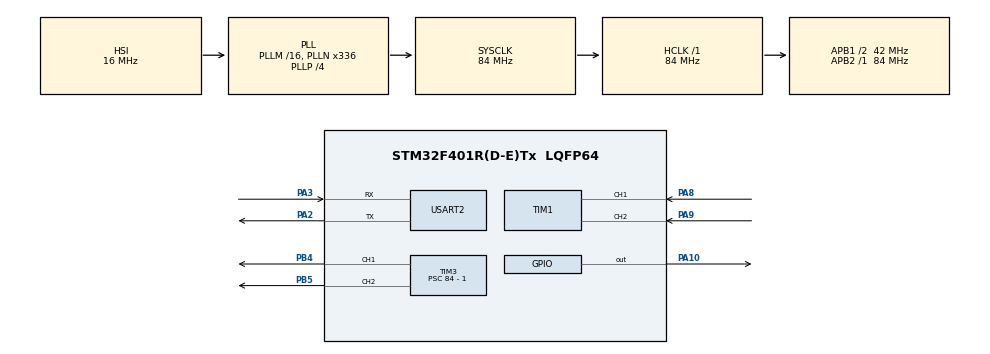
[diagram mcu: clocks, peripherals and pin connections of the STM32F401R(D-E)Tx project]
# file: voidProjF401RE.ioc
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Mcu.Family=STM32F4
Mcu.Name=STM32F401R(D-E)Tx
Mcu.Package=LQFP64
NVIC.PriorityGroup=NVIC_PRIORITYGROUP_4
NVIC.TIM4_IRQn=true\:0\:0\:false\:false\:true\:true\:true
PA10.Signal=GPIO_Output
PA2.Mode=Asynchronous
PA2.Signal=USART2_TX
PA3.Mode=Asynchronous
PA3.Signal=USART2_RX
PA8.Signal=S_TIM1_CH1
PA9.Signal=S_TIM1_CH2
PB4.Signal=S_TIM3_CH1
PB5.Signal=S_TIM3_CH2
ProjectManager.HeapSize=0x200
ProjectManager.StackSize=0x400
ProjectManager.TargetToolchain=STM32CubeIDE
RCC.48MHZClocksFreq_Value=84000000
RCC.AHBFreq_Value=84000000
RCC.APB1CLKDivider=RCC_HCLK_DIV2
RCC.APB1Freq_Value=42000000
RCC.APB1TimFreq_Value=84000000
RCC.APB2Freq_Value=84000000
RCC.APB2TimFreq_Value=84000000
RCC.CortexFreq_Value=84000000
RCC.HCLKFreq_Value=84000000
RCC.HSE_VALUE=25000000
RCC.HSI_VALUE=16000000
RCC.LSE_VALUE=32768
RCC.PLLN=336
RCC.PLLP=RCC_PLLP_DIV4
RCC.SYSCLKFreq_VALUE=84000000
RCC.SYSCLKSource=RCC_SYSCLKSOURCE_PLLCLK
RCC.VCOOutputFreq_Value=336000000
SH.S_TIM1_CH1.0=TIM1_CH1,Encoder_Interface
SH.S_TIM1_CH2.0=TIM1_CH2,Encoder_Interface
SH.S_TIM3_CH1.0=TIM3_CH1,PWM Generation1 CH1
SH.S_TIM3_CH2.0=TIM3_CH2,PWM Generation2 CH2
TIM1.EncoderMode=TIM_ENCODERMODE_TI12
TIM3.AutoReloadPreload=TIM_AUTORELOAD_PRELOAD_ENABLE
TIM3.Channel-PWM\ Generation1\ CH1=TIM_CHANNEL_1
TIM3.Channel-PWM\ Generation2\ CH2=TIM_CHANNEL_2
TIM3.Period=500 - 1
TIM3.Prescaler=84 - 1
TIM4.Period=5000 - 1
TIM4.Prescaler=84 - 1
USART2.VirtualMode=VM_ASYNC
VP_TIM3_VS_ClockSourceINT.Mode=Internal
VP_TIM4_VS_ClockSourceINT.Mode=Internal
board=custom

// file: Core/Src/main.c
/* USER CODE BEGIN Header */
/**
 ******************************************************************************
 * @file           : main.c
 * @brief          : Main program body
 ******************************************************************************
 * @attention
 *
 * <h2><center>&copy; Copyright (c) 2021 STMicroelectronics.
 * All rights reserved.</center></h2>
 *
 * This software component is licensed by ST under BSD 3-Clause license,
 * the "License"; You may not use this file except in compliance with the
 * License. You may obtain a copy of the License at:
 *                        opensource.org/licenses/BSD-3-Clause
 *
 ******************************************************************************
 */
/* USER CODE END Header */
#include "main.h"

/* USER CODE BEGIN Includes */
#include "stdio.h"
#include "stdlib.h"
#include "stdbool.h"
#include "math.h"
#include "string.h"
#include  <errno.h>
#include <math.h>
#include  <sys/unistd.h> // STDOUT_FILENO, STDERR_FILENO
/* USER CODE END Includes */

/* USER CODE BEGIN PD */
#define WAITING 2 // the number of seconds to wait from one reference change to the next. It also coincides with the number of seconds between one USART send and the next
/* USER CODE END PD */

TIM_HandleTypeDef htim1;
TIM_HandleTypeDef htim3;
TIM_HandleTypeDef htim4;

UART_HandleTypeDef huart2;

void SystemClock_Config(void);
static void MX_GPIO_Init(void);
static void MX_USART2_UART_Init(void);
static void MX_TIM3_Init(void);
static void MX_TIM1_Init(void);
static void MX_TIM4_Init(void);

/* USER CODE BEGIN 0 */
/* BEGIN CIRCULAR DATA BUFFER */
typedef struct circular_buffer {
	void *buffer;     // data buffer
	void *buffer_end; // end of data buffer
	size_t capacity;  // maximum number of items in the buffer
	size_t count;     // number of items in the buffer
	size_t sz;        // size of each item in the buffer
	void *head;       // pointer to head
	void *tail;       // pointer to tail
	bool writing;  // signals if the buffer is being written
} circular_buffer;

void cb_init(circular_buffer *cb, size_t capacity, size_t sz) {
	cb->buffer = calloc(capacity, sz);
	if (cb->buffer == NULL)
		printf("ALLOCATED NULL\n\r");
	// handle error
	cb->buffer_end = (char*) cb->buffer + capacity * sz;
	cb->capacity = capacity;
	cb->count = 0;
	cb->sz = sz;
	cb->head = cb->buffer;
	cb->tail = cb->buffer;
	cb->writing = false;

}

void cb_free(circular_buffer *cb) {
	free(cb->buffer);
	// clear out other fields too, just to be safe
}

void cb_push_back(circular_buffer *cb, const void *item) {
	if (cb->count == cb->capacity) {
		printf("ERROR PUSH BACK \n\r");
		// handle error
	}
	cb->writing = true;
	memmove(cb->head, item, cb->sz);
	cb->head = (char*) cb->head + cb->sz;
	if (cb->head == cb->buffer_end)
		cb->head = cb->buffer;
	cb->count++;
	cb->writing = false;
}

void cb_pop_front(circular_buffer *cb, void *item) {
	if (cb->count == 0) {
		printf("ERROR PUSH BACK \n\r");
		// handle error
	}
	memmove(item, cb->tail, cb->sz);
	cb->tail = (char*) cb->tail + cb->sz;
	if (cb->tail == cb->buffer_end)
		cb->tail = cb->buffer;
	while ((cb->writing))
		;
	cb->count--;
}

circular_buffer myBuff;

/* BEGIN RECORD TYPEDEF*/
typedef struct record {
	double current_u; // value of the current controller output
	double current_y; // value of the current motor output (speed)
	uint32_t cycleCoreDuration; // time needed to read, compute and actuate
	uint32_t cycleBeginDelay; // difference between the actual and the expected absolute start time of the cycle
	uint32_t currentTimestamp; // current timestamp in millis
} record;

/* BEGIN USART WRITE FUNCTION (used by printf)*/
int _write(int file, char *data, int len) {
	if ((file != STDOUT_FILENO) && (file != STDERR_FILENO)) {
		errno = EBADF;
		return -1;
	}

	// arbitrary timeout 1000
	HAL_StatusTypeDef status = HAL_UART_Transmit(&huart2, (uint8_t*) data, len,
			1000);

	// return # of bytes written - as best we can tell
	return (status == HAL_OK ? len : 0);
}

void setPulseFromDutyValue(double dutyVal) {
	HAL_GPIO_WritePin(GPIOA, GPIO_PIN_10, GPIO_PIN_SET); // enable the motor driver

	uint16_t channelToModulate;
	uint16_t channelToStop;

	if (dutyVal > 0) {
		channelToModulate = TIM_CHANNEL_1;
		channelToStop = TIM_CHANNEL_2;
	} else {
		channelToModulate = TIM_CHANNEL_2;
		channelToStop = TIM_CHANNEL_1;
	}

	__HAL_TIM_SET_COMPARE(&htim3, channelToStop, 0);
	__HAL_TIM_SET_COMPARE(&htim3, channelToModulate,
			(abs(dutyVal) * ((double )htim3.Init.Period)) / 100); //cast integer value to double to correctly perform division between decimal numbers
}

double getSpeedByDelta(double ticksDelta, double Ts) {
	return ticksDelta * 60 / (8400 * Ts);
}

double getPosition(double ticksDelta, double* tick_star) {
    // Aggiorna tick_star
    *tick_star += ticksDelta;

    // Calcola completeTheta
    double completeTheta = 2 * M_PI * (*tick_star) / 8400.0;

    // Calcola position
    double position = copysign(fmod(fabs(completeTheta), 2 * M_PI), completeTheta);
    return position;
}

double getTicksDelta(double currentTicks, double lastTicks, double Ts) {
	double delta;

	if (abs(currentTicks - lastTicks) <= ceil(12600 * Ts))
		delta = currentTicks - lastTicks;
	else {
		if (lastTicks > currentTicks)
			delta = currentTicks + pow(2, 16) - 1 - lastTicks;
		else
			delta = currentTicks - pow(2, 16) + 1 - lastTicks;
	}
	return delta;
}

int cycleduration;
double lastTicks = 0;
double currentTicks = 0;
uint32_t ticControlStep;
uint32_t tocControlStep;
uint32_t controlComputationDuration;
/*double u_last = 0;
double e_last = 0;*/
double Ts = 0.005;
double referenceVals = 0.1;
double referenceVal;
uint32_t k_controller = -1;
int samplingPrescaler = 2;
int samplingPrescalerCounter = 0;
/* USER CODE END 0 */

int main(void) {
	/* MCU Configuration--------------------------------------------------------*/

	/* Reset of all peripherals, Initializes the Flash interface and the Systick. */
	HAL_Init();

	/* USER CODE BEGIN Init */
	size_t bufferSize = (size_t)ceil(2 * WAITING / (Ts * samplingPrescaler));
	cb_init(&myBuff, bufferSize, sizeof(record));

	/* USER CODE END Init */

	/* Configure the system clock */
	SystemClock_Config();

	/* Initialize all configured peripherals */
	MX_GPIO_Init();
	MX_USART2_UART_Init();
	MX_TIM3_Init();
	MX_TIM1_Init();
	MX_TIM4_Init();
	/* USER CODE BEGIN 2 */
	HAL_TIM_PWM_Start(&htim3, TIM_CHANNEL_1);
	HAL_TIM_PWM_Start(&htim3, TIM_CHANNEL_2);
	HAL_TIM_Base_Start(&htim1);
	HAL_TIM_Base_Start_IT(&htim4);
	/* USER CODE END 2 */

	/* Infinite loop */
	/* USER CODE BEGIN WHILE */
	int referenceIndex = 0;

	/*referenceVal = referenceVals[referenceIndex];*/
	printf("INIT\n\r"); // initialize the Matlab tool for COM data acquiring

	while (1) {
		size_t nEntriesToSend = myBuff.count; //number of samples not read yet
		record retrieved; //buffer entry

		for (size_t count = 0; count < nEntriesToSend; count++) {
			cb_pop_front(&myBuff, &retrieved); //take entry from the buffer
			printf("%lu, %f, %f, %lu\n\r", retrieved.currentTimestamp,
					retrieved.current_u, retrieved.current_y,
					retrieved.cycleCoreDuration); // send values via USART using format: value1, value2, value3, ... valuen \n \r
		}
		/*referenceVal = referenceVals[referenceIndex];
		referenceIndex = referenceIndex + 1;*/
		HAL_Delay(WAITING*1000); // takes a time value in ms
		if (referenceIndex > 7)
			referenceIndex = 0;

		/* USER CODE END WHILE */

	}
}

void SystemClock_Config(void) {
	RCC_OscInitTypeDef RCC_OscInitStruct = { 0 };
	RCC_ClkInitTypeDef RCC_ClkInitStruct = { 0 };

	/** Configure the main internal regulator output voltage
	 */
	__HAL_RCC_PWR_CLK_ENABLE();
	__HAL_PWR_VOLTAGESCALING_CONFIG(PWR_REGULATOR_VOLTAGE_SCALE2);
	/** Initializes the RCC Oscillators according to the specified parameters
	 * in the RCC_OscInitTypeDef structure.
	 */
	RCC_OscInitStruct.OscillatorType = RCC_OSCILLATORTYPE_HSI;
	RCC_OscInitStruct.HSIState = RCC_HSI_ON;
	RCC_OscInitStruct.HSICalibrationValue = RCC_HSICALIBRATION_DEFAULT;
	RCC_OscInitStruct.PLL.PLLState = RCC_PLL_ON;
	RCC_OscInitStruct.PLL.PLLSource = RCC_PLLSOURCE_HSI;
	RCC_OscInitStruct.PLL.PLLM = 16;
	RCC_OscInitStruct.PLL.PLLN = 336;
	RCC_OscInitStruct.PLL.PLLP = RCC_PLLP_DIV4;
	RCC_OscInitStruct.PLL.PLLQ = 4;
	if (HAL_RCC_OscConfig(&RCC_OscInitStruct) != HAL_OK) {
		Error_Handler();
	}
	/** Initializes the CPU, AHB and APB buses clocks
	 */
	RCC_ClkInitStruct.ClockType = RCC_CLOCKTYPE_HCLK | RCC_CLOCKTYPE_SYSCLK
			| RCC_CLOCKTYPE_PCLK1 | RCC_CLOCKTYPE_PCLK2;
	RCC_ClkInitStruct.SYSCLKSource = RCC_SYSCLKSOURCE_PLLCLK;
	RCC_ClkInitStruct.AHBCLKDivider = RCC_SYSCLK_DIV1;
	RCC_ClkInitStruct.APB1CLKDivider = RCC_HCLK_DIV2;
	RCC_ClkInitStruct.APB2CLKDivider = RCC_HCLK_DIV1;

	if (HAL_RCC_ClockConfig(&RCC_ClkInitStruct, FLASH_LATENCY_2) != HAL_OK) {
		Error_Handler();
	}
}

static void MX_TIM1_Init(void) {

	TIM_Encoder_InitTypeDef sConfig = { 0 };
	TIM_MasterConfigTypeDef sMasterConfig = { 0 };

	htim1.Instance = TIM1;
	htim1.Init.Prescaler = 0;
	htim1.Init.CounterMode = TIM_COUNTERMODE_UP;
	htim1.Init.Period = 65535;
	htim1.Init.ClockDivision = TIM_CLOCKDIVISION_DIV1;
	htim1.Init.RepetitionCounter = 0;
	htim1.Init.AutoReloadPreload = TIM_AUTORELOAD_PRELOAD_DISABLE;
	sConfig.EncoderMode = TIM_ENCODERMODE_TI12;
	sConfig.IC1Polarity = TIM_ICPOLARITY_RISING;
	sConfig.IC1Selection = TIM_ICSELECTION_DIRECTTI;
	sConfig.IC1Prescaler = TIM_ICPSC_DIV1;
	sConfig.IC1Filter = 0;
	sConfig.IC2Polarity = TIM_ICPOLARITY_RISING;
	sConfig.IC2Selection = TIM_ICSELECTION_DIRECTTI;
	sConfig.IC2Prescaler = TIM_ICPSC_DIV1;
	sConfig.IC2Filter = 0;
	if (HAL_TIM_Encoder_Init(&htim1, &sConfig) != HAL_OK) {
		Error_Handler();
	}
	sMasterConfig.MasterOutputTrigger = TIM_TRGO_RESET;
	sMasterConfig.MasterSlaveMode = TIM_MASTERSLAVEMODE_DISABLE;
	if (HAL_TIMEx_MasterConfigSynchronization(&htim1, &sMasterConfig)
			!= HAL_OK) {
		Error_Handler();
	}

}

static void MX_TIM3_Init(void) {

	TIM_ClockConfigTypeDef sClockSourceConfig = { 0 };
	TIM_MasterConfigTypeDef sMasterConfig = { 0 };
	TIM_OC_InitTypeDef sConfigOC = { 0 };

	htim3.Instance = TIM3;
	htim3.Init.Prescaler = 84 - 1;
	htim3.Init.CounterMode = TIM_COUNTERMODE_UP;
	htim3.Init.Period = 500 - 1;
	htim3.Init.ClockDivision = TIM_CLOCKDIVISION_DIV1;
	htim3.Init.AutoReloadPreload = TIM_AUTORELOAD_PRELOAD_ENABLE;
	if (HAL_TIM_Base_Init(&htim3) != HAL_OK) {
		Error_Handler();
	}
	sClockSourceConfig.ClockSource = TIM_CLOCKSOURCE_INTERNAL;
	if (HAL_TIM_ConfigClockSource(&htim3, &sClockSourceConfig) != HAL_OK) {
		Error_Handler();
	}
	if (HAL_TIM_PWM_Init(&htim3) != HAL_OK) {
		Error_Handler();
	}
	sMasterConfig.MasterOutputTrigger = TIM_TRGO_RESET;
	sMasterConfig.MasterSlaveMode = TIM_MASTERSLAVEMODE_DISABLE;
	if (HAL_TIMEx_MasterConfigSynchronization(&htim3, &sMasterConfig)
			!= HAL_OK) {
		Error_Handler();
	}
	sConfigOC.OCMode = TIM_OCMODE_PWM1;
	sConfigOC.Pulse = 0;
	sConfigOC.OCPolarity = TIM_OCPOLARITY_HIGH;
	sConfigOC.OCFastMode = TIM_OCFAST_DISABLE;
	if (HAL_TIM_PWM_ConfigChannel(&htim3, &sConfigOC, TIM_CHANNEL_1)
			!= HAL_OK) {
		Error_Handler();
	}
	if (HAL_TIM_PWM_ConfigChannel(&htim3, &sConfigOC, TIM_CHANNEL_2)
			!= HAL_OK) {
		Error_Handler();
	}
	HAL_TIM_MspPostInit(&htim3);

}

static void MX_TIM4_Init(void) {

	TIM_ClockConfigTypeDef sClockSourceConfig = { 0 };
	TIM_MasterConfigTypeDef sMasterConfig = { 0 };

	htim4.Instance = TIM4;
	htim4.Init.Prescaler = 84 - 1;
	htim4.Init.CounterMode = TIM_COUNTERMODE_UP;
	htim4.Init.Period = 5000 - 1;
	htim4.Init.ClockDivision = TIM_CLOCKDIVISION_DIV1;
	htim4.Init.AutoReloadPreload = TIM_AUTORELOAD_PRELOAD_DISABLE;
	if (HAL_TIM_Base_Init(&htim4) != HAL_OK) {
		Error_Handler();
	}
	sClockSourceConfig.ClockSource = TIM_CLOCKSOURCE_INTERNAL;
	if (HAL_TIM_ConfigClockSource(&htim4, &sClockSourceConfig) != HAL_OK) {
		Error_Handler();
	}
	sMasterConfig.MasterOutputTrigger = TIM_TRGO_RESET;
	sMasterConfig.MasterSlaveMode = TIM_MASTERSLAVEMODE_DISABLE;
	if (HAL_TIMEx_MasterConfigSynchronization(&htim4, &sMasterConfig)
			!= HAL_OK) {
		Error_Handler();
	}

}

static void MX_USART2_UART_Init(void) {

	huart2.Instance = USART2;
	huart2.Init.BaudRate = 115200;
	huart2.Init.WordLength = UART_WORDLENGTH_8B;
	huart2.Init.StopBits = UART_STOPBITS_1;
	huart2.Init.Parity = UART_PARITY_NONE;
	huart2.Init.Mode = UART_MODE_TX_RX;
	huart2.Init.HwFlowCtl = UART_HWCONTROL_NONE;
	huart2.Init.OverSampling = UART_OVERSAMPLING_16;
	if (HAL_UART_Init(&huart2) != HAL_OK) {
		Error_Handler();
	}

}

static void MX_GPIO_Init(void) {
	GPIO_InitTypeDef GPIO_InitStruct = { 0 };

	/* GPIO Ports Clock Enable */
	__HAL_RCC_GPIOA_CLK_ENABLE();
	__HAL_RCC_GPIOB_CLK_ENABLE();

	/*Configure GPIO pin Output Level */
	HAL_GPIO_WritePin(GPIOA, GPIO_PIN_10, GPIO_PIN_RESET);

	/*Configure GPIO pin : PA10 */
	GPIO_InitStruct.Pin = GPIO_PIN_10;
	GPIO_InitStruct.Mode = GPIO_MODE_OUTPUT_PP;
	GPIO_InitStruct.Pull = GPIO_NOPULL;
	GPIO_InitStruct.Speed = GPIO_SPEED_FREQ_LOW;
	HAL_GPIO_Init(GPIOA, &GPIO_InitStruct);

}

/* USER CODE BEGIN 4 */
void HAL_TIM_PeriodElapsedCallback(TIM_HandleTypeDef *htim) {
	if (htim == &htim4) {
		k_controller = k_controller + 1;
		if (k_controller == 0) {
			ticControlStep = HAL_GetTick();
		}
		tocControlStep = HAL_GetTick();
		 double tick_star =  0;
		currentTicks = (double) __HAL_TIM_GET_COUNTER(&htim1); //take current value of ticks counting the encoder edges
		double speed = getSpeedByDelta(getTicksDelta(currentTicks, lastTicks, Ts), Ts);
		 // Inizializza tick_star

		 // Chiamata alla funzione getPosition per aggiornare tick_star e calcolare position
		 double position = getPosition(getTicksDelta(currentTicks, lastTicks, Ts), &tick_star);

		    // Stampa i risultati
		printf("Position: %f\n", position);
		printf("Tick Star: %f\n", tick_star);

		double e =  position - referenceVals ;
		double u = -  443.2089* position -15.1003 * speed -3162.3 * e ;

		setPulseFromDutyValue(u * 100 / 12);

		/*u_last = u;
		e_last = e;*/

		controlComputationDuration = HAL_GetTick() - tocControlStep;
		lastTicks = currentTicks;
		// recording data in the buffer
		record r;
		r.current_u = u;
		r.current_y = position;
		r.cycleCoreDuration = controlComputationDuration;
		r.cycleBeginDelay = tocControlStep - ticControlStep
				- (k_controller * Ts * 1000);
		r.currentTimestamp = HAL_GetTick();
		if (samplingPrescalerCounter == (samplingPrescaler - 1)) {
			cb_push_back(&myBuff, &r);
			samplingPrescalerCounter = -1;
		}
		samplingPrescalerCounter++;
	}
}
/* USER CODE END 4 */

void Error_Handler(void) {
	__disable_irq();
	while (1) {
	}
}

/************************ (C) COPYRIGHT STMicroelectronics *****END OF FILE****/
